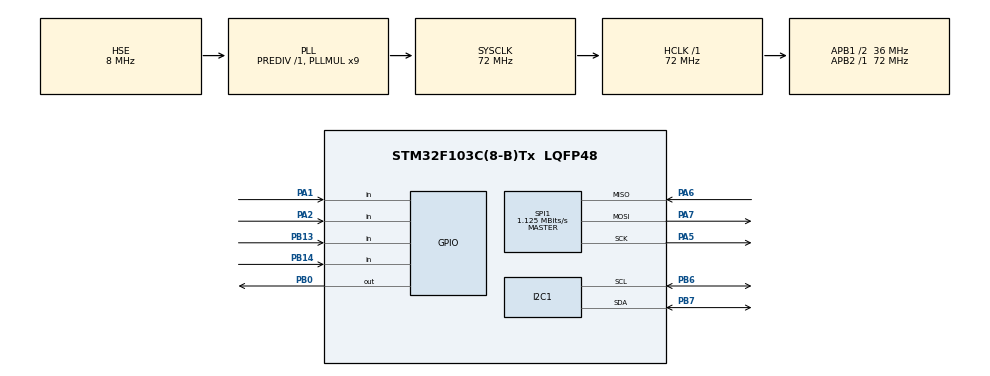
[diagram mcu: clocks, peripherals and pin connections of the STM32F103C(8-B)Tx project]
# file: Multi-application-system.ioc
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Dma.Request0=SPI1_TX
Dma.Request1=SPI1_RX
Dma.SPI1_RX.1.Direction=DMA_PERIPH_TO_MEMORY
Dma.SPI1_RX.1.Instance=DMA1_Channel2
Dma.SPI1_RX.1.MemDataAlignment=DMA_MDATAALIGN_BYTE
Dma.SPI1_RX.1.MemInc=DMA_MINC_ENABLE
Dma.SPI1_RX.1.Mode=DMA_NORMAL
Dma.SPI1_RX.1.PeriphDataAlignment=DMA_PDATAALIGN_BYTE
Dma.SPI1_RX.1.PeriphInc=DMA_PINC_DISABLE
Dma.SPI1_RX.1.Priority=DMA_PRIORITY_LOW
Dma.SPI1_TX.0.Direction=DMA_MEMORY_TO_PERIPH
Dma.SPI1_TX.0.Instance=DMA1_Channel3
Dma.SPI1_TX.0.MemDataAlignment=DMA_MDATAALIGN_BYTE
Dma.SPI1_TX.0.MemInc=DMA_MINC_ENABLE
Dma.SPI1_TX.0.Mode=DMA_NORMAL
Dma.SPI1_TX.0.PeriphDataAlignment=DMA_PDATAALIGN_BYTE
Dma.SPI1_TX.0.PeriphInc=DMA_PINC_DISABLE
Dma.SPI1_TX.0.Priority=DMA_PRIORITY_LOW
FREERTOS.Tasks01=defaultTask,24,128,StartDefaultTask,Default,NULL,Dynamic,NULL,NULL
Mcu.Family=STM32F1
Mcu.Name=STM32F103C(8-B)Tx
Mcu.Package=LQFP48
NVIC.DMA1_Channel2_IRQn=true\:5\:0\:false\:false\:true\:true\:false\:true\:true
NVIC.DMA1_Channel3_IRQn=true\:5\:0\:false\:false\:true\:true\:false\:true\:true
NVIC.PriorityGroup=NVIC_PRIORITYGROUP_4
NVIC.RTC_Alarm_IRQn=true\:5\:0\:false\:false\:true\:true\:true\:true\:true
NVIC.TIM2_IRQn=true\:15\:0\:false\:false\:true\:false\:false\:true\:true
NVIC.TimeBase=TIM2_IRQn
NVIC.TimeBaseIP=TIM2
PA1.Signal=GPIO_Input
PA13.Mode=Serial_Wire
PA13.Signal=SYS_JTMS-SWDIO
PA14.Mode=Serial_Wire
PA14.Signal=SYS_JTCK-SWCLK
PA2.Signal=GPIO_Input
PA5.Mode=Full_Duplex_Master
PA5.Signal=SPI1_SCK
PA6.Mode=Full_Duplex_Master
PA6.Signal=SPI1_MISO
PA7.Mode=Full_Duplex_Master
PA7.Signal=SPI1_MOSI
PB0.Signal=GPIO_Output
PB13.Signal=GPIO_Input
PB14.Signal=GPIO_Input
PB6.Mode=I2C
PB6.Signal=I2C1_SCL
PB7.Mode=I2C
PB7.Signal=I2C1_SDA
PC14-OSC32_IN.Mode=LSE-External-Oscillator
PC14-OSC32_IN.Signal=RCC_OSC32_IN
PC15-OSC32_OUT.Mode=LSE-External-Oscillator
PC15-OSC32_OUT.Signal=RCC_OSC32_OUT
PD0-OSC_IN.Mode=HSE-External-Oscillator
PD0-OSC_IN.Signal=RCC_OSC_IN
PD1-OSC_OUT.Mode=HSE-External-Oscillator
PD1-OSC_OUT.Signal=RCC_OSC_OUT
ProjectManager.HeapSize=0x200
ProjectManager.StackSize=0x400
ProjectManager.TargetToolchain=MDK-ARM V5.32
RCC.AHBFreq_Value=72000000
RCC.APB1CLKDivider=RCC_HCLK_DIV2
RCC.APB1Freq_Value=36000000
RCC.APB1TimFreq_Value=72000000
RCC.APB2Freq_Value=72000000
RCC.APB2TimFreq_Value=72000000
RCC.HCLKFreq_Value=72000000
RCC.PLLMUL=RCC_PLL_MUL9
RCC.PLLSourceVirtual=RCC_PLLSOURCE_HSE
RCC.SYSCLKFreq_VALUE=72000000
RCC.SYSCLKSource=RCC_SYSCLKSOURCE_PLLCLK
RCC.USBFreq_Value=72000000
SPI1.BaudRatePrescaler=SPI_BAUDRATEPRESCALER_64
SPI1.CLKPolarity=SPI_POLARITY_LOW
SPI1.CRCCalculation=SPI_CRCCALCULATION_DISABLE
SPI1.CalculateBaudRate=1.125 MBits/s
SPI1.Direction=SPI_DIRECTION_2LINES
SPI1.Mode=SPI_MODE_MASTER
SPI1.VirtualType=VM_MASTER
VP_CRC_VS_CRC.Mode=CRC_Activate
VP_FREERTOS_VS_CMSIS_V2.Mode=CMSIS_V2
VP_RTC_VS_RTC_Activate.Mode=RTC_Enabled
VP_RTC_VS_RTC_Calendar.Mode=RTC_Calendar
VP_SYS_VS_tim2.Mode=TIM2
board=custom

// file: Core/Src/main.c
/* USER CODE BEGIN Header */
/**
  ******************************************************************************
  * @file           : main.c
  * @brief          : Main program body
  ******************************************************************************
  * @attention
  *
  * Copyright (c) 2025 STMicroelectronics.
  * All rights reserved.
  *
  * This software is licensed under terms that can be found in the LICENSE file
  * in the root directory of this software component.
  * If no LICENSE file comes with this software, it is provided AS-IS.
  *
  ******************************************************************************
  */
/* USER CODE END Header */
#include "main.h"
#include "cmsis_os.h"
#include "crc.h"
#include "dma.h"
#include "i2c.h"
#include "rtc.h"
#include "spi.h"
#include "gpio.h"

/* USER CODE BEGIN Includes */
#include "mySpi/mySpi.h"
#include "configStorage/configStorage.h"

/* USER CODE END Includes */

void SystemClock_Config(void);
void MX_FREERTOS_Init(void);

/* uint16_t device_id = 0; */
int main(void)
{

  /* MCU Configuration--------------------------------------------------------*/

  /* Reset of all peripherals, Initializes the Flash interface and the Systick. */
  HAL_Init();

  /* Configure the system clock */
  SystemClock_Config();

  /* Initialize all configured peripherals */
  MX_GPIO_Init();
  MX_DMA_Init();
  MX_I2C1_Init();
  MX_RTC_Init();
  MX_SPI1_Init();
  MX_CRC_Init();
  /* USER CODE BEGIN 2 */

  /*  uint8_t recv_buf[2] = {0};
   uint8_t send_data[4] = {0x90, 0x00, 0x00, 0x00};

   NSS_GPIO_ENTRANCE w25Q64_nss_port = {GPIOB, GPIO_PIN_0};

   HAL_StatusTypeDef status = SPI_ReadData(w25Q64_nss_port, send_data, 4, recv_buf, 2, SPI_MODE_BLOCKING);
     device_id = (recv_buf[0] << 8) | recv_buf[1]; */
  /* USER CODE END 2 */

  /* Init scheduler */
  osKernelInitialize();

  /* Call init function for freertos objects (in cmsis_os2.c) */
  MX_FREERTOS_Init();

  /* Start scheduler */
  osKernelStart();

  /* We should never get here as control is now taken by the scheduler */

  /* Infinite loop */
  while (1)
  {

  }
}

void SystemClock_Config(void)
{
  RCC_OscInitTypeDef RCC_OscInitStruct = {0};
  RCC_ClkInitTypeDef RCC_ClkInitStruct = {0};
  RCC_PeriphCLKInitTypeDef PeriphClkInit = {0};

  /** Initializes the RCC Oscillators according to the specified parameters
  * in the RCC_OscInitTypeDef structure.
  */
  RCC_OscInitStruct.OscillatorType = RCC_OSCILLATORTYPE_LSI|RCC_OSCILLATORTYPE_HSE;
  RCC_OscInitStruct.HSEState = RCC_HSE_ON;
  RCC_OscInitStruct.HSEPredivValue = RCC_HSE_PREDIV_DIV1;
  RCC_OscInitStruct.HSIState = RCC_HSI_ON;
  RCC_OscInitStruct.LSIState = RCC_LSI_ON;
  RCC_OscInitStruct.PLL.PLLState = RCC_PLL_ON;
  RCC_OscInitStruct.PLL.PLLSource = RCC_PLLSOURCE_HSE;
  RCC_OscInitStruct.PLL.PLLMUL = RCC_PLL_MUL9;
  if (HAL_RCC_OscConfig(&RCC_OscInitStruct) != HAL_OK)
  {
    Error_Handler();
  }

  /** Initializes the CPU, AHB and APB buses clocks
  */
  RCC_ClkInitStruct.ClockType = RCC_CLOCKTYPE_HCLK|RCC_CLOCKTYPE_SYSCLK
                              |RCC_CLOCKTYPE_PCLK1|RCC_CLOCKTYPE_PCLK2;
  RCC_ClkInitStruct.SYSCLKSource = RCC_SYSCLKSOURCE_PLLCLK;
  RCC_ClkInitStruct.AHBCLKDivider = RCC_SYSCLK_DIV1;
  RCC_ClkInitStruct.APB1CLKDivider = RCC_HCLK_DIV2;
  RCC_ClkInitStruct.APB2CLKDivider = RCC_HCLK_DIV1;

  if (HAL_RCC_ClockConfig(&RCC_ClkInitStruct, FLASH_LATENCY_2) != HAL_OK)
  {
    Error_Handler();
  }
  PeriphClkInit.PeriphClockSelection = RCC_PERIPHCLK_RTC;
  PeriphClkInit.RTCClockSelection = RCC_RTCCLKSOURCE_LSI;
  if (HAL_RCCEx_PeriphCLKConfig(&PeriphClkInit) != HAL_OK)
  {
    Error_Handler();
  }
}

void HAL_TIM_PeriodElapsedCallback(TIM_HandleTypeDef *htim)
{
  if (htim->Instance == TIM2)
  {
    HAL_IncTick();
  }
}

void Error_Handler(void)
{
  __disable_irq();
  while (1)
  {
  }
}

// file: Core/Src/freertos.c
/* USER CODE BEGIN Header */
/**
  ******************************************************************************
  * File Name          : freertos.c
  * Description        : Code for freertos applications
  ******************************************************************************
  * @attention
  *
  * Copyright (c) 2025 STMicroelectronics.
  * All rights reserved.
  *
  * This software is licensed under terms that can be found in the LICENSE file
  * in the root directory of this software component.
  * If no LICENSE file comes with this software, it is provided AS-IS.
  *
  ******************************************************************************
  */
/* USER CODE END Header */

#include "FreeRTOS.h"
#include "task.h"
#include "main.h"
#include "cmsis_os.h"

/* USER CODE BEGIN Includes */
#include "u8g2/u8g2.h"
#include "myU8g2/myU8g2.h"

#include "key/key.h"
#include "logicTask/logicTask.h"
#include "systemStatus/systemStatus.h"

#include "appAlarmPage/alarmRingPage.h"
#include "appAlarmPage/appAlarmPage.h"

/* USER CODE END Includes */

/* Definitions for defaultTask */
osThreadId_t defaultTaskHandle;
const osThreadAttr_t defaultTask_attributes = {
  .name = "defaultTask",
  .stack_size = 128 * 4,
  .priority = (osPriority_t) osPriorityNormal,
};

void StartDefaultTask(void *argument);

void MX_FREERTOS_Init(void); /* (MISRA C 2004 rule 8.1) */

void MX_FREERTOS_Init(void) {
  /* USER CODE BEGIN Init */
    xTaskCreate(keySacnTask, "keyScanTask", 128, NULL, 1, NULL);
  xTaskCreate(logicTask, "logicTask", 128, NULL, 1, &logicTaskHandle);

  /* USER CODE END Init */

  /* Create the thread(s) */
  /* creation of defaultTask */
  defaultTaskHandle = osThreadNew(StartDefaultTask, NULL, &defaultTask_attributes);

}

void StartDefaultTask(void *argument)
{
  /* USER CODE BEGIN StartDefaultTask */
  systemState_init();
  /* Infinite loop */
  for(;;)
  {
    // 闹钟事件
    uint32_t notif_value = 0;
    if (xTaskNotifyWait(0, ULONG_MAX, &notif_value, 0) == pdPASS)
    {
      if (notif_value & (1 << 0))
      {
        alarm_transPage(&alarm_ringPage_state);
        systemState_trans_appAlarmPage(&g_current_state);
        g_current_state->draw(); // 立即刷新界面
      }
    }
    // 默认绘制
    g_current_state->draw();

    osDelay(500);
  }
  /* USER CODE END StartDefaultTask */
}
